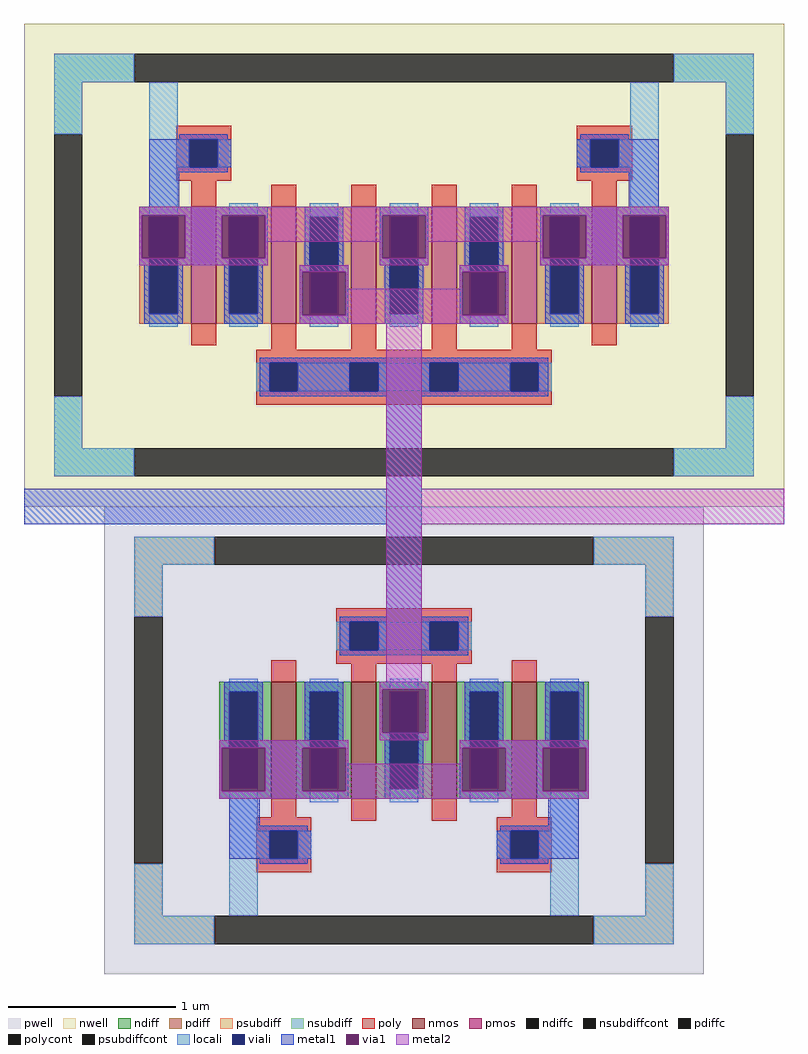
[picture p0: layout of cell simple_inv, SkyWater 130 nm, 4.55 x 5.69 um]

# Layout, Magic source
magic
tech sky130A
magscale 1 2
<< metal1 >>
rect 381 -32 423 79
rect -53 -74 423 -32
rect 381 -185 423 -74
<< metal2 >>
rect 381 -32 423 166
rect 381 -74 857 -32
rect 381 -263 423 -74
use sinv_n  sky130_fd_pr__nfet_01v8_2AA63J_0
transform 1 0 402 0 1 -333
box -359 -280 359 280
use sinv_p  sky130_fd_pr__pfet_01v8_X6FFBL_0
transform 1 0 402 0 1 236
box -455 -289 455 289
<< end >>

# cell sinv_n: kit device sky130_fd_pr__nfet_01v8, w 0.7 l 0.150 m 1 nf 4 diffcov 100 polycov 100 guard 1 glc 1 grc 1 gtc 1 gbc 1 tbcov 100 rlcov 100 topc 1 botc 1 poverlap 0 doverlap 1 lmin 0.15 wmin 0.42 compatible {sky130_fd_pr__nfet_01v8 sky130_fd_pr__nfet_01v8_lvt sky130_fd_bs_flash__special_sonosfet_star sky130_fd_pr__nfet_g5v0d10v5 sky130_fd_pr__nfet_05v0_nvt sky130_fd_pr__nfet_03v3_nvt} full_metal 1 viasrc 100 viadrn 100 viagate 100 viagb 0 viagr 0 viagl 0 viagt 0

# cell sinv_p: kit device sky130_fd_pr__pfet_01v8, w 0.7 l 0.15 m 1 nf 6 diffcov 100 polycov 100 guard 1 glc 1 grc 1 gtc 1 gbc 1 tbcov 100 rlcov 100 topc 1 botc 1 poverlap 0 doverlap 1 lmin 0.15 wmin 0.42 compatible {sky130_fd_pr__pfet_01v8 sky130_fd_pr__pfet_01v8_lvt sky130_fd_pr__pfet_01v8_hvt sky130_fd_pr__pfet_g5v0d10v5} full_metal 1 viasrc 100 viadrn 100 viagate 100 viagb 0 viagr 0 viagl 0 viagt 0
